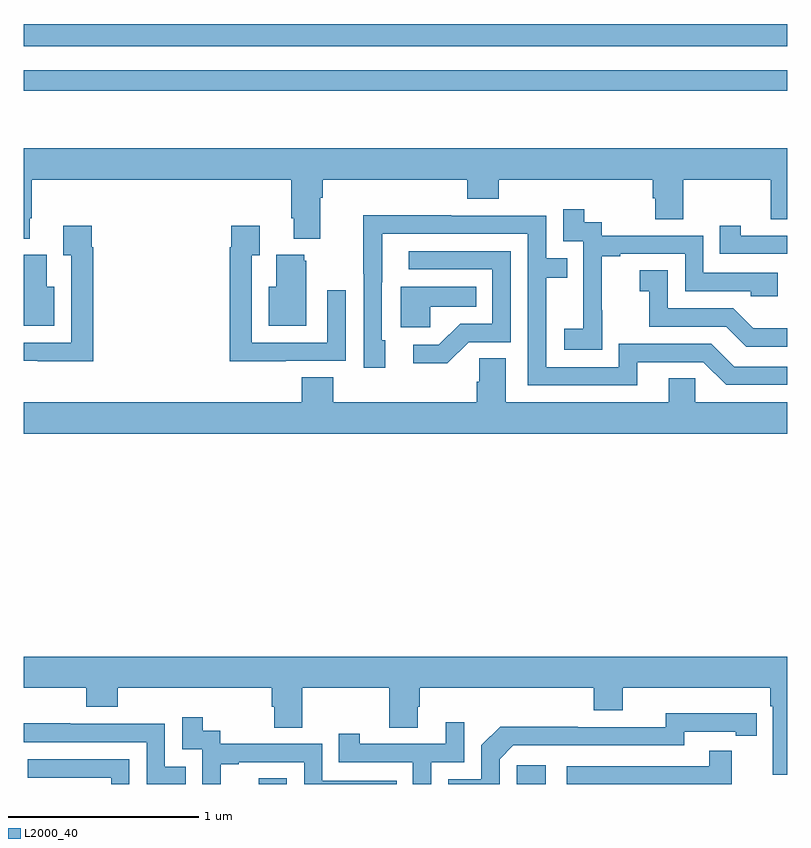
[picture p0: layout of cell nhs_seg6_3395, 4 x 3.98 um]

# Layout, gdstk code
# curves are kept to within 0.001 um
import gdstk
lib = gdstk.Library(unit=1e-6, precision=1e-09)
def R(c, l, rs):  # rectangles x0, y0, x1, y1
    for r in rs: c.add(gdstk.rectangle(r[:2], r[2:], *l))
def P(c, l, *ps):  # polygons
    for p in ps: c.add(gdstk.Polygon(p, *l))
L2000_40 = (2000, 40)

nhs_seg6_3395 = lib.new_cell('nhs_seg6_3395')
R(nhs_seg6_3395, L2000_40, [(312.231,945.5,312.378,945.529), (313.584,945.5,313.735,945.598), (311,949.134,315,949.242), (311,949.368,315,949.484)])
P(nhs_seg6_3395, L2000_40, [(311.029,948.466),(311.042,948.466),(311.042,948.668),(312.401,948.668),(312.401,948.466),(312.413,948.466),(312.413,948.359),(312.553,948.359),(312.553,948.572),(312.566,948.572),(312.566,948.668),(313.325,948.668),(313.325,948.569),(313.49,948.569),(313.49,948.668),(314.297,948.668),(314.297,948.57),(314.309,948.57),(314.309,948.46),(314.457,948.46),(314.457,948.668),(314.914,948.668),(314.914,948.46),(315,948.46),(315,948.832),(311,948.832),(311,948.359),(311.029,948.359)],
  [(314.031,947.983),(314.03,947.983),(314.03,948.267),(314.125,948.267),(314.125,948.279),(314.466,948.279),(314.466,948.084),(314.811,948.084),(314.811,948.057),(314.951,948.057),(314.951,948.18),(314.562,948.18),(314.562,948.375),(314.028,948.375),(314.028,948.444),(313.936,948.444),(313.936,948.514),(313.827,948.514),(313.827,948.345),(313.932,948.345),(313.932,948.116),(313.931,948.116),(313.931,947.887),(313.833,947.887),(313.833,947.777),(314.031,947.777)],
  [(314.215,947.712),(314.562,947.712),(314.682,947.592),(315,947.592),(315,947.688),(314.724,947.688),(314.604,947.808),(314.118,947.808),(314.118,947.685),(313.737,947.685),(313.737,948.154),(313.847,948.154),(313.847,948.255),(313.737,948.255),(313.737,948.48),(313.241,948.48),(313.241,948.482),(312.778,948.482),(312.778,948.175),(312.78,948.175),(312.78,947.682),(312.895,947.682),(312.895,947.826),(312.876,947.826),(312.877,948.384),(313.641,948.384),(313.641,947.589),(314.215,947.589)],
  [(311.363,948.314),(311.356,948.314),(311.356,948.427),(311.207,948.427),(311.207,948.271),(311.247,948.271),(311.247,947.814),(311,947.814),(311,947.718),(311.071,947.718),(311.071,947.717),(311.363,947.717)],
  [(315,948.375),(314.758,948.375),(314.758,948.427),(314.647,948.427),(314.647,948.279),(315,948.279)],
  [(312.371,947.718),(312.687,947.718),(312.687,948.088),(312.591,948.088),(312.591,947.814),(312.195,947.814),(312.195,948.271),(312.235,948.271),(312.235,948.427),(312.087,948.427),(312.087,948.314),(312.079,948.314),(312.079,947.717),(312.371,947.717)],
  [(313.332,947.817),(313.551,947.817),(313.551,948.294),(313.017,948.294),(313.017,948.198),(313.455,948.198),(313.455,947.913),(313.286,947.913),(313.175,947.802),(313.041,947.802),(313.041,947.705),(313.219,947.705)],
  [(312.481,948.243),(312.47,948.243),(312.47,948.274),(312.323,948.274),(312.323,948.106),(312.284,948.106),(312.284,947.903),(312.481,947.903)],
  [(311.158,948.106),(311.119,948.106),(311.119,948.274),(311,948.274),(311,947.903),(311.158,947.903)],
  [(315,947.89),(314.822,947.89),(314.718,947.994),(314.376,947.994),(314.376,948.193),(314.229,948.193),(314.229,948.083),(314.278,948.083),(314.278,947.898),(314.681,947.898),(314.786,947.793),(315,947.793)],
  [(313.131,948.002),(313.37,948.002),(313.37,948.106),(312.974,948.106),(312.974,947.894),(313.131,947.894)],
  [(315,947.5),(314.52,947.5),(314.52,947.627),(314.381,947.627),(314.381,947.5),(313.525,947.5),(313.525,947.732),(313.386,947.732),(313.386,947.609),(313.373,947.609),(313.373,947.5),(312.62,947.5),(312.62,947.633),(312.455,947.633),(312.455,947.5),(311,947.5),(311,947.336),(315,947.336)],
  [(315,946.168),(311,946.168),(311,946.004),(311.327,946.004),(311.327,945.905),(311.492,945.905),(311.492,946.004),(312.299,946.004),(312.299,945.906),(312.311,945.906),(312.311,945.796),(312.459,945.796),(312.459,946.004),(312.916,946.004),(312.916,945.796),(313.063,945.796),(313.063,945.906),(313.076,945.906),(313.076,946.004),(313.988,946.004),(313.988,945.887),(314.14,945.887),(314.14,946.004),(314.912,946.004),(314.912,945.908),(314.925,945.908),(314.925,945.549),(315,945.549)],
  [(313.494,945.63),(313.566,945.702),(314.46,945.702),(314.46,945.774),(314.732,945.774),(314.732,945.754),(314.84,945.754),(314.84,945.87),(314.364,945.871),(314.364,945.798),(313.904,945.798),(313.904,945.8),(313.496,945.8),(313.398,945.702),(313.398,945.525),(313.224,945.525),(313.224,945.5),(313.494,945.5)],
  [(312.032,945.603),(312.127,945.603),(312.127,945.615),(312.468,945.615),(312.468,945.5),(312.953,945.5),(312.953,945.516),(312.564,945.516),(312.564,945.711),(312.03,945.711),(312.03,945.78),(311.938,945.78),(311.938,945.85),(311.829,945.85),(311.829,945.681),(311.934,945.681),(311.934,945.5),(312.032,945.5)],
  [(313.134,945.615),(313.308,945.615),(313.308,945.823),(313.211,945.823),(313.211,945.711),(312.76,945.711),(312.76,945.763),(312.649,945.763),(312.649,945.615),(313.038,945.615),(313.038,945.5),(313.134,945.5)],
  [(311.849,945.591),(311.739,945.591),(311.739,945.816),(311.243,945.816),(311.243,945.818),(311,945.818),(311,945.72),(311.643,945.72),(311.643,945.5),(311.849,945.5)],
  [(314.711,945.673),(314.593,945.673),(314.593,945.594),(313.845,945.594),(313.845,945.5),(314.711,945.5)],
  [(311.553,945.63),(311.019,945.63),(311.019,945.534),(311.457,945.534),(311.457,945.5),(311.553,945.5)])

lib.write_gds('nhs_seg6_3395.gds')
